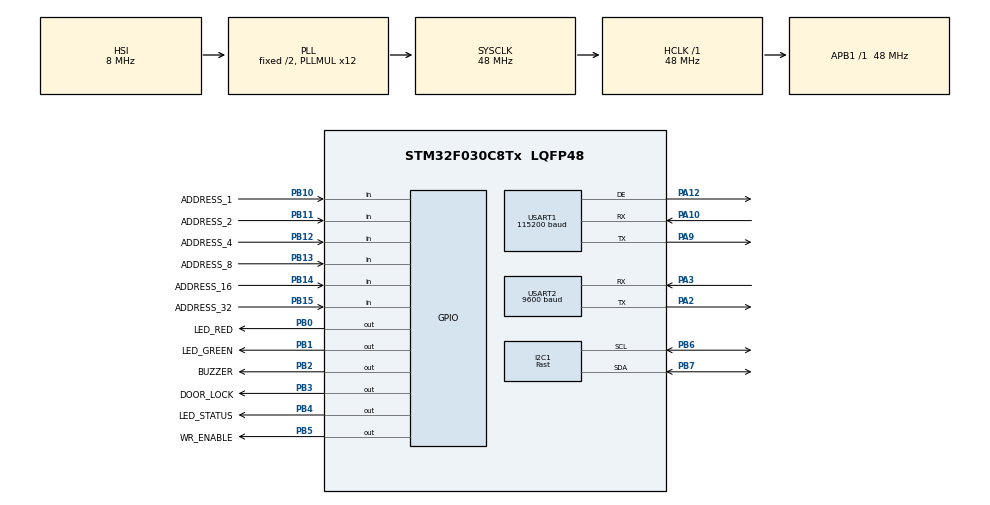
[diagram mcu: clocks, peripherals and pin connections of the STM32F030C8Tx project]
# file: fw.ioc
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I2C1.I2C_Speed_Mode=I2C_Fast
I2C1.Timing=0x0010020A
Mcu.Family=STM32F0
Mcu.Name=STM32F030C8Tx
Mcu.Package=LQFP48
NVIC.USART1_IRQn=true\:0\:0\:false\:false\:true\:true\:true\:true
NVIC.USART2_IRQn=true\:0\:0\:false\:false\:true\:true\:true\:true
PA10.Mode=Asynchronous
PA10.Signal=USART1_RX
PA12.Mode=Hardware Flow Control (RS485)
PA12.Signal=USART1_DE
PA13.Mode=Serial_Wire
PA13.Signal=SYS_SWDIO
PA14.Mode=Serial_Wire
PA14.Signal=SYS_SWCLK
PA2.Mode=Asynchronous
PA2.Signal=USART2_TX
PA3.Mode=Asynchronous
PA3.Signal=USART2_RX
PA9.Mode=Asynchronous
PA9.Signal=USART1_TX
PB0.GPIO_Label=LED_RED
PB0.Signal=GPIO_Output
PB1.GPIO_Label=LED_GREEN
PB1.Signal=GPIO_Output
PB10.GPIO_Label=ADDRESS_1
PB10.GPIO_PuPd=GPIO_PULLUP
PB10.Signal=GPIO_Input
PB11.GPIO_Label=ADDRESS_2
PB11.GPIO_PuPd=GPIO_PULLUP
PB11.Signal=GPIO_Input
PB12.GPIO_Label=ADDRESS_4
PB12.GPIO_PuPd=GPIO_PULLUP
PB12.Signal=GPIO_Input
PB13.GPIO_Label=ADDRESS_8
PB13.GPIO_PuPd=GPIO_PULLUP
PB13.Signal=GPIO_Input
PB14.GPIO_Label=ADDRESS_16
PB14.GPIO_PuPd=GPIO_PULLUP
PB14.Signal=GPIO_Input
PB15.GPIO_Label=ADDRESS_32
PB15.GPIO_PuPd=GPIO_PULLUP
PB15.Signal=GPIO_Input
PB2.GPIO_Label=BUZZER
PB2.Signal=GPIO_Output
PB3.GPIO_Label=DOOR_LOCK
PB3.Signal=GPIO_Output
PB4.GPIO_Label=LED_STATUS
PB4.Signal=GPIO_Output
PB5.GPIO_Label=WR_ENABLE
PB5.GPIO_ModeDefaultOutputPP=GPIO_MODE_OUTPUT_OD
PB5.GPIO_PuPd=GPIO_NOPULL
PB5.GPIO_Speed=GPIO_SPEED_FREQ_HIGH
PB5.PinState=GPIO_PIN_SET
PB5.Signal=GPIO_Output
PB6.Mode=I2C
PB6.Signal=I2C1_SCL
PB7.Mode=I2C
PB7.Signal=I2C1_SDA
PC14-OSC32_IN.Mode=LSE-External-Oscillator
PC14-OSC32_IN.Signal=RCC_OSC32_IN
PC15-OSC32_OUT.Mode=LSE-External-Oscillator
PC15-OSC32_OUT.Signal=RCC_OSC32_OUT
ProjectManager.HeapSize=0x200
ProjectManager.StackSize=0x400
ProjectManager.TargetToolchain=MDK-ARM V5.32
RCC.AHBFreq_Value=48000000
RCC.APB1Freq_Value=48000000
RCC.APB1TimFreq_Value=48000000
RCC.HCLKFreq_Value=48000000
RCC.PLLMUL=RCC_PLL_MUL12
RCC.RTCClockSelection=RCC_RTCCLKSOURCE_LSE
RCC.SYSCLKFreq_VALUE=48000000
RCC.SYSCLKSource=RCC_SYSCLKSOURCE_PLLCLK
USART1.BaudRate=115200
USART1.VirtualMode-Asynchronous=VM_ASYNC
USART1.VirtualMode-Hardware\ Flow\ Control\ (RS485)=VM_ASYNC
USART2.BaudRate=9600
USART2.VirtualMode-Asynchronous=VM_ASYNC
VP_CRC_VS_CRC.Mode=CRC_Activate
VP_IWDG_VS_IWDG.Mode=IWDG_Activate
VP_RTC_VS_RTC_Activate.Mode=RTC_Enabled
board=custom

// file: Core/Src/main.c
/* USER CODE BEGIN Header */
/**
  ******************************************************************************
  * @file           : main.c
  * @brief          : Main program body
  ******************************************************************************
  * @attention
  *
  * Copyright (c) 2024 STMicroelectronics.
  * All rights reserved.
  *
  * This software is licensed under terms that can be found in the LICENSE file
  * in the root directory of this software component.
  * If no LICENSE file comes with this software, it is provided AS-IS.
  *
  ******************************************************************************
  */
/* USER CODE END Header */
#include "main.h"

/* USER CODE BEGIN Includes */
#include "logger.h"
#include "eeprom.h"
#include <stdlib.h>
/* USER CODE END Includes */

/* USER CODE BEGIN PTD */
typedef enum
{
	BUZZ_OFF = 0,
	BUZZ_CARD_VALID,
	BUZZ_CARD_INVALID,
	BUZZ_ERROR
} buzz_tdf;

typedef enum
{
	LED_OFF = 0,
	LED_CARD_VALID,
	LED_CARD_INVALID,
	LED_CARD_BLOCKED,
	LED_ERROR
} led_tdf;

typedef enum
{
	SYS_OK = 0,
	SYS_TXRX,
	SYS_ERR
} status_tdf;

typedef enum
{
	CLOSED = 0,
	OPEN
} doorlock_tdf;

doorlock_tdf door = CLOSED;
status_tdf state = SYS_OK;
led_tdf led = LED_OFF;
buzz_tdf buzz = BUZZ_OFF;
const uint16_t max_card_number = 250;
/* USER CODE END PTD */

I2C_HandleTypeDef hi2c1;

IWDG_HandleTypeDef hiwdg;

RTC_HandleTypeDef hrtc;
CRC_HandleTypeDef hcrc;
UART_HandleTypeDef huart1;
UART_HandleTypeDef huart2;

/* USER CODE BEGIN PV */
uint8_t sysfl;
static uint8_t rsadd;
RTC_TimeTypeDef rtime;
RTC_DateTypeDef rdate;
static uint8_t rsbuf[64], rscnt, rfbuf[16], rfcnt;
static uint32_t door_time;
static uint16_t card_cnt = 0;
static uint8_t buzz_cnt = 0, sta_cnt = 0, door_cnt = 0, led_cnt = 0;
static uint32_t buzz_tmr, sta_tmr, door_tmr, led_tmr, rstmr;
/* USER CODE END PV */

void SystemClock_Config(void);
static void MX_GPIO_Init(void);
static void MX_I2C1_Init(void);
static void MX_IWDG_Init(void);
static void MX_CRC_Init(void);
static void MX_USART1_UART_Init(void);
static void MX_USART2_UART_Init(void);
static void MX_RTC_Init(void);
/* USER CODE BEGIN PFP */
static void init(void);
static void rfid(void);
static void rs485(void);
static void save_flags(void);
static void card_valid(void);
static void card_invalid(void);
static void card_blocked(void);
static void save_door_tmr(void);
static void enable_rfid_receiver(void);
static void enable_rs485_receiver(void);
static void new_event(const uint8_t* bcd_card);
static uint8_t find_card(const uint8_t* bcd_card);
static uint8_t write_card(const uint8_t* bcd_card);
static uint8_t delete_card(const uint8_t* bcd_card);
static uint8_t delete_all_cards(void);
static uint8_t delete_all_events(void);
/* USER CODE END PFP */

int main(void)
{

	/* MCU Configuration--------------------------------------------------------*/

	/* Reset of all peripherals, Initializes the Flash interface and the Systick. */
	HAL_Init();

	/* Configure the system clock */
	SystemClock_Config();

	/* Initialize all configured peripherals */
	MX_GPIO_Init();
	MX_CRC_Init();
	MX_I2C1_Init();
	MX_IWDG_Init();
	MX_USART1_UART_Init();
	MX_USART2_UART_Init();
	MX_RTC_Init();
	/* USER CODE BEGIN 2 */
	init();
	LOGGER_Init();

	/* USER CODE END 2 */

	/* Infinite loop */
	/* USER CODE BEGIN WHILE */
	while(1)
	{
		rfid();
		rs485();
		LOGGER_Service();
		/* USER CODE END WHILE */

		/* USER CODE BEGIN 3 */
#ifdef	USE_WATCHDOG
		HAL_IWDG_Refresh(&hiwdg);
#endif
	}
	/* USER CODE END 3 */
}

void SystemClock_Config(void)
{
	RCC_OscInitTypeDef RCC_OscInitStruct = {0};
	RCC_ClkInitTypeDef RCC_ClkInitStruct = {0};
	RCC_PeriphCLKInitTypeDef PeriphClkInit = {0};

	/** Configure LSE Drive Capability
	*/
	HAL_PWR_EnableBkUpAccess();
	__HAL_RCC_LSEDRIVE_CONFIG(RCC_LSEDRIVE_HIGH);

	/** Initializes the RCC Oscillators according to the specified parameters
	* in the RCC_OscInitTypeDef structure.
	*/
	RCC_OscInitStruct.OscillatorType = RCC_OSCILLATORTYPE_HSI | RCC_OSCILLATORTYPE_LSI
	                                   | RCC_OSCILLATORTYPE_LSE;
	RCC_OscInitStruct.LSEState = RCC_LSE_ON;
	RCC_OscInitStruct.HSIState = RCC_HSI_ON;
	RCC_OscInitStruct.HSICalibrationValue = RCC_HSICALIBRATION_DEFAULT;
	RCC_OscInitStruct.LSIState = RCC_LSI_ON;
	RCC_OscInitStruct.PLL.PLLState = RCC_PLL_ON;
	RCC_OscInitStruct.PLL.PLLSource = RCC_PLLSOURCE_HSI;
	RCC_OscInitStruct.PLL.PLLMUL = RCC_PLL_MUL12;
	RCC_OscInitStruct.PLL.PREDIV = RCC_PREDIV_DIV1;
	if(HAL_RCC_OscConfig(&RCC_OscInitStruct) != HAL_OK)
	{
		Error_Handler();
	}

	/** Initializes the CPU, AHB and APB buses clocks
	*/
	RCC_ClkInitStruct.ClockType = RCC_CLOCKTYPE_HCLK | RCC_CLOCKTYPE_SYSCLK
	                              | RCC_CLOCKTYPE_PCLK1;
	RCC_ClkInitStruct.SYSCLKSource = RCC_SYSCLKSOURCE_PLLCLK;
	RCC_ClkInitStruct.AHBCLKDivider = RCC_SYSCLK_DIV1;
	RCC_ClkInitStruct.APB1CLKDivider = RCC_HCLK_DIV1;

	if(HAL_RCC_ClockConfig(&RCC_ClkInitStruct, FLASH_LATENCY_1) != HAL_OK)
	{
		Error_Handler();
	}
	PeriphClkInit.PeriphClockSelection = RCC_PERIPHCLK_USART1 | RCC_PERIPHCLK_I2C1
	                                     | RCC_PERIPHCLK_RTC;
	PeriphClkInit.Usart1ClockSelection = RCC_USART1CLKSOURCE_PCLK1;
	PeriphClkInit.I2c1ClockSelection = RCC_I2C1CLKSOURCE_HSI;
	PeriphClkInit.RTCClockSelection = RCC_RTCCLKSOURCE_LSE;
	if(HAL_RCCEx_PeriphCLKConfig(&PeriphClkInit) != HAL_OK)
	{
		Error_Handler();
	}
}

/**
  * @brief
  * @param
  * @retval
  */
static void MX_CRC_Init(void)
{
	hcrc.Instance = CRC;
	HAL_CRC_Init(&hcrc);
}
static void MX_I2C1_Init(void)
{

	hi2c1.Instance = I2C1;
	hi2c1.Init.Timing = 0x0000010B;
	hi2c1.Init.OwnAddress1 = 0;
	hi2c1.Init.AddressingMode = I2C_ADDRESSINGMODE_7BIT;
	hi2c1.Init.DualAddressMode = I2C_DUALADDRESS_DISABLE;
	hi2c1.Init.OwnAddress2 = 0;
	hi2c1.Init.OwnAddress2Masks = I2C_OA2_NOMASK;
	hi2c1.Init.GeneralCallMode = I2C_GENERALCALL_DISABLE;
	hi2c1.Init.NoStretchMode = I2C_NOSTRETCH_DISABLE;
	if(HAL_I2C_Init(&hi2c1) != HAL_OK)
	{
		Error_Handler();
	}

	/** Configure Analogue filter
	*/
	if(HAL_I2CEx_ConfigAnalogFilter(&hi2c1, I2C_ANALOGFILTER_ENABLE) != HAL_OK)
	{
		Error_Handler();
	}

	/** Configure Digital filter
	*/
	if(HAL_I2CEx_ConfigDigitalFilter(&hi2c1, 0) != HAL_OK)
	{
		Error_Handler();
	}

}

static void MX_IWDG_Init(void)
{

	/* USER CODE BEGIN IWDG_Init 0 */
#ifdef USE_WATCHDOG
	/* USER CODE END IWDG_Init 0 */

	hiwdg.Instance = IWDG;
	hiwdg.Init.Prescaler = IWDG_PRESCALER_64;
	hiwdg.Init.Window = 4095;
	hiwdg.Init.Reload = 4095;
	if(HAL_IWDG_Init(&hiwdg) != HAL_OK)
	{
		Error_Handler();
	}
	/* USER CODE BEGIN IWDG_Init 2 */
#endif
	/* USER CODE END IWDG_Init 2 */

}

static void MX_RTC_Init(void)
{

	/** Initialize RTC Only
	*/
	hrtc.Instance = RTC;
	hrtc.Init.HourFormat = RTC_HOURFORMAT_24;
	hrtc.Init.AsynchPrediv = 127;
	hrtc.Init.SynchPrediv = 255;
	hrtc.Init.OutPut = RTC_OUTPUT_DISABLE;
	hrtc.Init.OutPutPolarity = RTC_OUTPUT_POLARITY_HIGH;
	hrtc.Init.OutPutType = RTC_OUTPUT_TYPE_OPENDRAIN;
	if(HAL_RTC_Init(&hrtc) != HAL_OK)
	{
		Error_Handler();
	}

}

static void MX_USART1_UART_Init(void)
{

	huart1.Instance = USART1;
	huart1.Init.BaudRate = 115200;
	huart1.Init.WordLength = UART_WORDLENGTH_8B;
	huart1.Init.StopBits = UART_STOPBITS_1;
	huart1.Init.Parity = UART_PARITY_NONE;
	huart1.Init.Mode = UART_MODE_TX_RX;
	huart1.Init.HwFlowCtl = UART_HWCONTROL_NONE;
	huart1.Init.OverSampling = UART_OVERSAMPLING_16;
	huart1.Init.OneBitSampling = UART_ONE_BIT_SAMPLE_DISABLE;
	huart1.AdvancedInit.AdvFeatureInit = UART_ADVFEATURE_NO_INIT;
	if(HAL_RS485Ex_Init(&huart1, UART_DE_POLARITY_HIGH, 0, 0) != HAL_OK)
	{
		Error_Handler();
	}
	/* USER CODE BEGIN USART1_Init 2 */
	rscnt = 0;
	ZEROFILL(rsbuf, COUNTOF(rsbuf));
	HAL_UART_Receive_IT(&huart1, rsbuf, 1);
	/* USER CODE END USART1_Init 2 */

}

static void MX_USART2_UART_Init(void)
{

	huart2.Instance = USART2;
	huart2.Init.BaudRate = 9600;
	huart2.Init.WordLength = UART_WORDLENGTH_8B;
	huart2.Init.StopBits = UART_STOPBITS_1;
	huart2.Init.Parity = UART_PARITY_NONE;
	huart2.Init.Mode = UART_MODE_RX;
	huart2.Init.HwFlowCtl = UART_HWCONTROL_NONE;
	huart2.Init.OverSampling = UART_OVERSAMPLING_16;
	huart2.Init.OneBitSampling = UART_ONE_BIT_SAMPLE_DISABLE;
	huart2.AdvancedInit.AdvFeatureInit = UART_ADVFEATURE_NO_INIT;
	if(HAL_UART_Init(&huart2) != HAL_OK)
	{
		Error_Handler();
	}
	/* USER CODE BEGIN USART2_Init 2 */
	rfcnt = 0;
	ZEROFILL(rfbuf, COUNTOF(rfbuf));
	HAL_UART_Receive_IT(&huart2, rfbuf, 1);
	/* USER CODE END USART2_Init 2 */

}

static void MX_GPIO_Init(void)
{
	GPIO_InitTypeDef GPIO_InitStruct = {0};

	/* GPIO Ports Clock Enable */
	__HAL_RCC_GPIOC_CLK_ENABLE();
	__HAL_RCC_GPIOF_CLK_ENABLE();
	__HAL_RCC_GPIOA_CLK_ENABLE();
	__HAL_RCC_GPIOB_CLK_ENABLE();

	/*Configure GPIO pin Output Level */
	HAL_GPIO_WritePin(GPIOB, LED_RED_Pin | LED_GREEN_Pin | BUZZER_Pin | DOOR_LOCK_Pin
	                  | LED_STATUS_Pin, GPIO_PIN_RESET);

	/*Configure GPIO pin Output Level */
	HAL_GPIO_WritePin(WR_ENABLE_GPIO_Port, WR_ENABLE_Pin, GPIO_PIN_SET);

	/*Configure GPIO pin : PC13 */
	GPIO_InitStruct.Pin = GPIO_PIN_13;
	GPIO_InitStruct.Mode = GPIO_MODE_ANALOG;
	GPIO_InitStruct.Pull = GPIO_NOPULL;
	HAL_GPIO_Init(GPIOC, &GPIO_InitStruct);

	/*Configure GPIO pins : PF0 PF1 PF6 PF7 */
	GPIO_InitStruct.Pin = GPIO_PIN_0 | GPIO_PIN_1 | GPIO_PIN_6 | GPIO_PIN_7;
	GPIO_InitStruct.Mode = GPIO_MODE_ANALOG;
	GPIO_InitStruct.Pull = GPIO_NOPULL;
	HAL_GPIO_Init(GPIOF, &GPIO_InitStruct);

	/*Configure GPIO pins : PA0 PA1 PA4 PA5
	                         PA6 PA7 PA8 PA11
	                         PA15 */
	GPIO_InitStruct.Pin = GPIO_PIN_0 | GPIO_PIN_1 | GPIO_PIN_4 | GPIO_PIN_5
	                      | GPIO_PIN_6 | GPIO_PIN_7 | GPIO_PIN_8 | GPIO_PIN_11
	                      | GPIO_PIN_15;
	GPIO_InitStruct.Mode = GPIO_MODE_ANALOG;
	GPIO_InitStruct.Pull = GPIO_NOPULL;
	HAL_GPIO_Init(GPIOA, &GPIO_InitStruct);

	/*Configure GPIO pins : LED_RED_Pin LED_GREEN_Pin BUZZER_Pin DOOR_LOCK_Pin
	                         LED_STATUS_Pin */
	GPIO_InitStruct.Pin = LED_RED_Pin | LED_GREEN_Pin | BUZZER_Pin | DOOR_LOCK_Pin
	                      | LED_STATUS_Pin;
	GPIO_InitStruct.Mode = GPIO_MODE_OUTPUT_PP;
	GPIO_InitStruct.Pull = GPIO_NOPULL;
	GPIO_InitStruct.Speed = GPIO_SPEED_FREQ_LOW;
	HAL_GPIO_Init(GPIOB, &GPIO_InitStruct);

	/*Configure GPIO pins : ADDRESS_1_Pin ADDRESS_2_Pin ADDRESS_4_Pin ADDRESS_8_Pin
	                         ADDRESS_16_Pin ADDRESS_32_Pin */
	GPIO_InitStruct.Pin = ADDRESS_1_Pin | ADDRESS_2_Pin | ADDRESS_4_Pin | ADDRESS_8_Pin
	                      | ADDRESS_16_Pin | ADDRESS_32_Pin;
	GPIO_InitStruct.Mode = GPIO_MODE_INPUT;
	GPIO_InitStruct.Pull = GPIO_PULLUP;
	HAL_GPIO_Init(GPIOB, &GPIO_InitStruct);

	/*Configure GPIO pin : WR_ENABLE_Pin */
	GPIO_InitStruct.Pin = WR_ENABLE_Pin;
	GPIO_InitStruct.Mode = GPIO_MODE_OUTPUT_PP;
	GPIO_InitStruct.Pull = GPIO_NOPULL;
	GPIO_InitStruct.Speed = GPIO_SPEED_FREQ_HIGH;
	HAL_GPIO_Init(WR_ENABLE_GPIO_Port, &GPIO_InitStruct);

	/*Configure GPIO pins : PB8 PB9 */
	GPIO_InitStruct.Pin = GPIO_PIN_8 | GPIO_PIN_9;
	GPIO_InitStruct.Mode = GPIO_MODE_ANALOG;
	GPIO_InitStruct.Pull = GPIO_NOPULL;
	HAL_GPIO_Init(GPIOB, &GPIO_InitStruct);

}

/* USER CODE BEGIN 4 */
/**
  * @brief  init app
  * @param  none
  * @retval none
  */
static void init(void)
{
	static uint8_t buf[LOG_DSIZE];
	static uint32_t add;

#ifdef CLEAR_EEPROM
	uint8_t clr[EE_PGSIZE + 2];
	uint32_t iad;
	ZEROFILL(clr, COUNTOF(clr));
	EE_EnableWR();
	for(iad = 0; iad <= (EE_ENDADDR - EE_PGSIZE); iad += EE_PGSIZE)
	{
		clr[0] = iad >> 8;
		clr[1] = iad & 0xFFU;
		if(HAL_I2C_IsDeviceReady(&hi2c1, EE_ADDR, DRV_TRIAL, DRV_TOUT)         != HAL_OK)  Error_Handler();
		if(HAL_I2C_Master_Transmit(&hi2c1, EE_ADDR, clr, EE_PGSIZE + 2, DRV_TOUT) != HAL_OK)  Error_Handler();
		if(HAL_I2C_IsDeviceReady(&hi2c1, EE_ADDR, DRV_TRIAL, DRV_TOUT)         != HAL_OK)  Error_Handler();
	}
	door_time = 5;
	DoorlockEnable();
	BuzzerEnable();
	buf[0] = 0U;
	buf[1] = 0U;
	buf[2] = sysfl;
	buf[3] = door_time;
	if(HAL_I2C_IsDeviceReady(&hi2c1, EE_ADDR, DRV_TRIAL, DRV_TOUT) != HAL_OK)   Error_Handler();
	if(HAL_I2C_Master_Transmit(&hi2c1, EE_ADDR, buf, 4, DRV_TOUT)  != HAL_OK)   Error_Handler();
	if(HAL_I2C_IsDeviceReady(&hi2c1, EE_ADDR, DRV_TRIAL, DRV_TOUT) != HAL_OK)  Error_Handler();
	EE_DisableWR();
#endif

	rsadd = 0;
	if(HAL_GPIO_ReadPin(ADDRESS_1_GPIO_Port, ADDRESS_1_Pin) == GPIO_PIN_RESET) rsadd |= 0x01U;
	if(HAL_GPIO_ReadPin(ADDRESS_2_GPIO_Port, ADDRESS_2_Pin) == GPIO_PIN_RESET) rsadd |= 0x02U;
	if(HAL_GPIO_ReadPin(ADDRESS_4_GPIO_Port, ADDRESS_4_Pin) == GPIO_PIN_RESET) rsadd |= 0x04U;
	if(HAL_GPIO_ReadPin(ADDRESS_8_GPIO_Port, ADDRESS_8_Pin) == GPIO_PIN_RESET) rsadd |= 0x08U;
	if(HAL_GPIO_ReadPin(ADDRESS_16_GPIO_Port, ADDRESS_16_Pin) == GPIO_PIN_RESET) rsadd |= 0x10U;
	if(HAL_GPIO_ReadPin(ADDRESS_32_GPIO_Port, ADDRESS_32_Pin) == GPIO_PIN_RESET) rsadd |= 0x20U;

	buf[0] = 0U;
	buf[1] = 0U;
	if(HAL_I2C_IsDeviceReady(&hi2c1, EE_ADDR, DRV_TRIAL, DRV_TOUT) != HAL_OK)  Error_Handler();
	if(HAL_I2C_Master_Transmit(&hi2c1, EE_ADDR, buf, 2U, DRV_TOUT) != HAL_OK)  Error_Handler();
	if(HAL_I2C_Master_Receive(&hi2c1, EE_ADDR, buf, LOG_DSIZE, DRV_TOUT)   != HAL_OK) Error_Handler();
	sysfl = buf[0];
	door_time = (uint32_t) buf[1] * 1000U;
	if(!IsRFIDEnabled()) // omogući rfid uvijek nakon restarta, ovo je samo interni flag
	{
		RfidEnable();
		save_flags();
	}

	for(add = EE_CARD_LIST_START_ADDR; add <= (EE_CARD_LIST_START_ADDR + (max_card_number * 0x4U)); add += 4U)
	{
		buf[0] = add >> 8U;
		buf[1] = add & 0xFFU;
		if(HAL_I2C_IsDeviceReady(&hi2c1, 0xA0, DRV_TRIAL, DRV_TOUT) != HAL_OK)  Error_Handler();
		if(HAL_I2C_Master_Transmit(&hi2c1, 0xA0, buf, 2U, DRV_TOUT) != HAL_OK)  Error_Handler();
		if(HAL_I2C_Master_Receive(&hi2c1, 0xA0, buf, 4, DRV_TOUT)  != HAL_OK)  Error_Handler();
		if((buf[0] | buf[1] | buf[2] | buf[3]) != 0U)
		{
			++card_cnt;
		}
	}
}
/**
  * @brief  process received rfid data
  * @param  none
  * @retval none
  */
static void rfid(void)
{
	static uint32_t rftmr = 0;
	unsigned long tmp;
	static uint8_t buf[4];

	if(!IsRFIDEnabled()) return;
	if(rfcnt >= 14U)
	{
		HAL_UART_AbortReceive(&huart2);
		rfbuf[15] = '\0';
		state = SYS_TXRX;
		if((rfbuf[0] == 0x2U) && (rfbuf[13] == 0x3U))
		{
			rfbuf[11] = '\0';
			tmp = strtoul((const char*)&rfbuf[3], NULL, 16);
            if((tmp == 0)||(tmp == 4294967295)){
                enable_rfid_receiver();
                return;
            }
			buf[0] = ((tmp >> 24) & 0xFFU);
			buf[1] = ((tmp >> 16) & 0xFFU);
			buf[2] = ((tmp >> 8) & 0xFFU);
			buf[3] = tmp & 0xFFU;
			if(find_card(buf) == 0) card_valid();
			else  card_invalid();
		}
		else card_invalid();
		new_event(buf);
		rftmr = 0;
		rfcnt = 0;
	}
	else if(rfcnt && !rftmr)
	{
		rftmr = HAL_GetTick();
	}
	else if(rfcnt && rftmr)
	{
		if((HAL_GetTick() - rftmr) >= 200U)
		{
			rftmr = 0;
			enable_rfid_receiver();
		}
	}
}
/**
  * @brief  send new card event to pc app
            if pc app not acknowledge receiving event
            event is loged
  * @param  pointer to card received
  * @retval none
  */
static void new_event(const uint8_t* bcd_card)
{
	uint16_t crc = 0, i, t = 0;
	uint8_t buf[16];
	HAL_UART_AbortReceive(&huart1);
	ZEROFILL(buf, COUNTOF(buf));
	buf[0] = SOH;
	buf[1] = 0xFE;
	buf[2] = rsadd;
	buf[3] = 0x6U;
	buf[4] = GET_EVENT_LAST;
	buf[5] = led;
	mem_copy(&buf[6], bcd_card, 4);
	for(i = 0; i < 10; i++)
	{
		crc += buf[i];
	}
	buf[10] = crc >> 8;
	buf[11] = crc & 0xFFU;
	buf[12] = EOT;
	rscnt = 0;
	ZEROFILL(rsbuf, COUNTOF(rsbuf));
	HAL_UART_Transmit(&huart1, buf, 13U, RESP_TOUT);
	__HAL_UART_CLEAR_PEFLAG(&huart1);
	__HAL_UART_CLEAR_FEFLAG(&huart1);
	__HAL_UART_CLEAR_NEFLAG(&huart1);
	__HAL_UART_CLEAR_IDLEFLAG(&huart1);
	__HAL_UART_CLEAR_OREFLAG(&huart1);
	HAL_UART_AbortReceive(&huart1);
	HAL_UART_Receive(&huart1, rsbuf, 8, 100);
	if((rsbuf[0] == SOH)   && (rsbuf[1] ==  rsadd) && \
	        (rsbuf[2] == 0xFEU) && (rsbuf[3] ==  0x1U) && \
	        (rsbuf[4] == ACK)   && (rsbuf[7] ==  EOT))
	{
		crc = 0;
		for(i = 0; i < (rsbuf[3] + 4); i++)
		{
			crc += rsbuf[i];
		}
		if(((rsbuf[5]) == (crc >> 8U)) && ((rsbuf[6]) == (crc & 0xFFU))) t = 1;
	}
	if(t == 0)
	{
		logger.log_event = led;
		mem_copy(&logger.log_card_id[0], bcd_card, 4);
		LOGGER_Write();
	}
	enable_rs485_receiver();
}
/**
  * @brief process received rs485 data and response
  * @param

    BAJT 0 = SOH (standardni ASCII "start of header" kontrolni char, 1 decimalno, 0x01 hexadecimalno)
    BAJT 1 = ADRESA RECEIVERA (adresa ČITAČA ili u odgovoru 0xFE adresa PC aplikacije) ili 0xFF brodkast adresa
    BAJT 2 = ADRESA TRANSMITERA (0xFE adresa PC aplikacije ili u odgovoru adresa ČITAČA)
    BAJT 3 = DUŽINA PAKETA (broj bajta korisnog dijela ovog paketa koji saljemo prijemniku pocevsi od i uključujući slijedeceg)
    BAJT 4 = KOMANDA
                        GET_SYS_FLAG        0xA0 // traži flagove sistema
                        GET_CARD_CNT        0xA1 // broj kartica u eepromu
                        GET_CARD_PRESENT    0xA2 // traži kartice u eepromu
                        GET_EVENT_CNT       0xA3 // broj događaja u eepromu
                        GET_EVENT_LAST      0xA4 // traži zadnji događaj iz eeproma

                        SET_SYS_TIME        0xB0 // podesi vrijeme u BCD formatu: dan/datum/mjesec/godina/sat/minuta/sekunda
                        SET_SYS_RESTART     0xB1 // softwerski restart applikacije
                        SET_CARD_ONE        0xB2 // dodaj novu karticu u eeprom
                        SET_DOOR_OPEN       0xB3 // aktiviraj bravu
                        SET_DOOR_TIME       0xB4 // podesi vrijeme brave
                        SET_DOOR_ENABLE     0xB5 // omogući kontrolu brave
                        SET_DOOR_DISABLE    0xB6 // onemogući kontrolu brave
                        SET_BUZZER_ENABLE   0xB7 // omogući buzzer
                        SET_BUZZER_DISABLE  0xB8 // onemogući buzzer

                        DELETE_CARD_ONE     0xC0 // obrisi karticu iz eeproma
                        DELETE_CARD_ALL     0xC1 // obrisi sve kartice iz eeproma
                        DELETE_EVENT_LAST   0xC2 // obrisi događaj prema datom indexu iz eeproma
                        DELETE_EVENT_ALL    0xC3 // obrisi sve događaje iz eeproma

    BAJT 5,6... = BROJ KARTICE ILI VRIJEME (ako se šalje broj kartice ili vrijeme)

    BAJT ZADNJI - 2 = MSB CEKSUMA KOMANDE (16 bitni zbir svih bajta paketa, do prije ovog bajta)
    BAJT ZADNJI - 1 = LSB CEKSUMA KOMANDE
    BAJT ZADNJI		= EOT (standardni ASCII "end of transmission" kontrolni char, 4 decimalno, 0x04 hexadecimalno)

  * @retval
  */
static void rs485(void)
{
	static uint8_t i, resp[32];
	uint16_t crc = 0;
	if((rsbuf[0] == SOH) && (rsbuf[1] ==  rsadd) && (rsbuf[rsbuf[3] + 6U] == EOT))
	{
		HAL_UART_AbortReceive(&huart1);

		for(i = 0; i < (rsbuf[3] + 4); i++)
		{
			crc += rsbuf[i];
		}

		if(((rsbuf[rsbuf[3] + 4U]) == (crc >> 8U)) && ((rsbuf[rsbuf[3] + 5U]) == (crc & 0xFFU)))
		{
			resp[0] = SOH;
			resp[1] = 0xFEU;
			resp[2] = rsadd;
			resp[3] = 2U;
			resp[4] = rsbuf[4];
			resp[5] = ACK;

			switch(rsbuf[4])
			{
				case GET_SYS_FLAG:
					resp[5] = sysfl;
					break;

				case GET_CARD_CNT:
					resp[3] = 3U;
					resp[5] = card_cnt >> 8;
					resp[6] = card_cnt & 0xFFU;
					break;

				case GET_CARD_PRESENT:
					if(find_card(&rsbuf[5]) != 0) resp[5] = NAK;
					break;

				case GET_EVENT_CNT:
					resp[3] = 3U;
					resp[5] = logger_list_count >> 8;
					resp[6] = logger_list_count & 0xFFU;
					break;

				case GET_EVENT_LAST:
					resp[3] = 17U;
					if(LOGGER_Read(&resp[5]) == LOGGER_EMPTY)
					{
						resp[3] = 2U;
						resp[5] = LOGGER_EMPTY;
					}
					break;

				case SET_SYS_TIME:
					Str2Hex((const char*)&rsbuf[5], &rdate.Date, 2);
					Str2Hex((const char*)&rsbuf[7], &rdate.Month, 2);
					Str2Hex((const char*)&rsbuf[9], &rdate.Year, 2);
					Str2Hex((const char*)&rsbuf[11], &rtime.Hours, 2);
					Str2Hex((const char*)&rsbuf[13], &rtime.Minutes, 2);
					Str2Hex((const char*)&rsbuf[15], &rtime.Seconds, 2);
					HAL_RTC_SetTime(&hrtc, &rtime, RTC_FORMAT_BCD);
					HAL_RTC_SetDate(&hrtc, &rdate, RTC_FORMAT_BCD);
					break;

				case SET_SYS_RESTART:
					Error_Handler();
					break;

				case SET_CARD_ONE:
					if(find_card(&rsbuf[5]) != 0)
					{
						if(write_card(&rsbuf[5]) != 0) resp[5] = NAK;
					}
					break;

				case SET_DOOR_OPEN:
					door = OPEN;
					DoorlockEnable();
					break;

				case SET_DOOR_TIME:
					door_time = (uint32_t) rsbuf[5] * 1000U;
					save_door_tmr();
					break;

				case SET_DOOR_ENABLE:
					DoorlockEnable();
					save_flags();
					break;

				case SET_DOOR_DISABLE:
					DoorlockDisable();
					save_flags();
					break;

				case SET_BUZZER_ENABLE:
					BuzzerEnable();
					save_flags();
					break;

				case SET_BUZZER_DISABLE:
					BuzzerDisable();
					save_flags();
					break;

				case DELETE_CARD_ONE:
					if(delete_card(&rsbuf[5]) != 0) resp[5] = NAK;
					break;

				case DELETE_CARD_ALL:
					delete_all_cards();
					break;

				case DELETE_EVENT_ALL:
					delete_all_events();
					break;

				case DELETE_EVENT_LAST:
					resp[5] = LOGGER_Delete();
					break;

				default:
					resp[3] = 0;
					break;
			}

			if(resp[3])
			{
				crc = 0;
				for(i = 0; i < (resp[3] + 4); i++)
				{
					crc += resp[i];
				}
				resp[resp[3] + 4U] = (crc >> 8U);
				resp[resp[3] + 5U] = (crc & 0xFFU);
				resp[resp[3] + 6U] = EOT;
				HAL_UART_Transmit(&huart1, resp, resp[3] + 7U, RESP_TOUT);
			}
		}
		enable_rs485_receiver();
	}
	// resetuj receiver 100 ms nakon zadnje primljenog bajta
	if(rstmr)
	{
		if((HAL_GetTick() - rstmr) >= 100U)
		{
			enable_rs485_receiver();
		}
	}
}
/**
  * @brief  buzzer, led, doorlock
  * @param
  * @retval
  */
void status(void)
{
	//********************* BUZZER SIGNAL *********************//
	if(IsBuzzerEnabled())
	{
		switch(buzz)
		{
			case BUZZ_CARD_VALID:
				switch(buzz_cnt)
				{
					case 0:
						BuzzerOn();
						buzz_tmr = HAL_GetTick();
						++buzz_cnt;
						break;
					case 1:
					default:
						if((HAL_GetTick() - buzz_tmr) >= 50U) buzz = BUZZ_OFF;
						break;
				}
				break;
			case BUZZ_CARD_INVALID:
				if((HAL_GetTick() - buzz_tmr) >= 50U)
				{
					if(IsBuzzerOn()) BuzzerOff();
					else BuzzerOn();
					buzz_tmr = HAL_GetTick();
					if(++buzz_cnt >= 8U) buzz = BUZZ_OFF;
				}
				break;
			case BUZZ_ERROR:
				if(((buzz_cnt & 0x1U) == 0U) && ((HAL_GetTick() - buzz_tmr) >= 5000U))
				{
					BuzzerOn();
					buzz_tmr = HAL_GetTick();
					++buzz_cnt;
				}
				else if((HAL_GetTick() - buzz_tmr) >= 100U)
				{
					BuzzerOff();
					buzz_tmr = HAL_GetTick();
					++buzz_cnt;
				}
				break;
			default:
			case BUZZ_OFF:
				buzz_cnt = 0;
				buzz_tmr = 0;
				BuzzerOff();
				break;
		}
	}
	else
	{
		buzz_cnt = 0;
		buzz_tmr = 0;
		BuzzerOff();
	}
	//********************* STATUS LED SIGNAL *********************//
	switch(state)
	{
		case SYS_OK:
			if(((sta_cnt & 0x1U) == 0U) && ((HAL_GetTick() - sta_tmr) >= 1000U))
			{
				StatusLedOn();
				sta_tmr = HAL_GetTick();
				++sta_cnt;
			}
			else if((sta_cnt & 0x1U)  && ((HAL_GetTick() - sta_tmr) >= 100U))
			{
				StatusLedOff();
				sta_tmr = HAL_GetTick();
				sta_cnt = 0;
			}
			break;

		case SYS_TXRX:
			if((HAL_GetTick() - sta_tmr) >= 100U)
			{
				if(IsStatusLedOn()) StatusLedOff();
				else StatusLedOn();
				sta_tmr = HAL_GetTick();
				if(++sta_cnt >= 10U) state = SYS_OK;
			}
			break;

		default:
		case SYS_ERR:
			if((HAL_GetTick() - sta_tmr) >= 100U)
			{
				if(IsStatusLedOn()) StatusLedOff();
				else StatusLedOn();
				sta_tmr = HAL_GetTick();
			}
			break;
	}
	//********************* USER LED SIGNAL *********************//
	switch(led)
	{

		case LED_CARD_VALID:
		case LED_CARD_BLOCKED:
			switch(led_cnt)
			{
				case 0:
					if(led == LED_CARD_VALID) GreenLedOn(), RedLedOff();
					else if(led == LED_CARD_BLOCKED) GreenLedOn(), RedLedOn();
					led_tmr = HAL_GetTick();
					++led_cnt;
					break;
				case 1:
				default:
					if((HAL_GetTick() - led_tmr) >= 2000U)
					{
						led_cnt = 0;
						led = LED_OFF;
						enable_rfid_receiver();
					}
					break;
			}
			break;
		case LED_CARD_INVALID:
			if((HAL_GetTick() - led_tmr) >= 50U)
			{
				if(IsRedLedOn()) RedLedOff();
				else RedLedOn();
				led_tmr = HAL_GetTick();
				if(++led_cnt >= 8U)
				{
					led_cnt = 0;
					led = LED_OFF;
					enable_rfid_receiver();
				}
			}
			break;
		case LED_ERROR:
			if(((led_cnt & 0x1U) == 0U) && ((HAL_GetTick() - led_tmr) >= 200U))
			{
				RedLedOn();
				GreenLedOn();
				led_tmr = HAL_GetTick();
				++led_cnt;
			}
			else if((led_cnt & 0x1U) && ((HAL_GetTick() - led_tmr) >= 100U))
			{
				RedLedOff();
				GreenLedOff();
				led_tmr = HAL_GetTick();
				led_cnt = 0;
			}
			break;
		default:
		case LED_OFF:
			RedLedOn();
			GreenLedOff();
			break;

	}
	//********************* DOORLOCK OUTPUT *********************//
	if(IsDoorlockEnabled())
	{
		switch(door)
		{
			case OPEN:
				switch(door_cnt)
				{
					case 0:
						DoorlockOn();
						door_tmr = HAL_GetTick();
						++door_cnt;
						break;
					case 1:
					default:
						if((HAL_GetTick() - door_tmr) >= door_time) door = CLOSED;
						break;
				}
				break;

			default:
			case CLOSED:
				DoorlockOff();
				door_cnt = 0;
				door_tmr = 0;
				break;
		}
	}
	else
	{
		DoorlockOff();
		door_cnt = 0;
		door_tmr = 0;
	}

}
/**
  * @brief  reset and start receivin data from rf485
  * @param  none
  * @retval none
  */
static void enable_rs485_receiver(void)
{
	__HAL_UART_CLEAR_PEFLAG(&huart1);
	__HAL_UART_CLEAR_FEFLAG(&huart1);
	__HAL_UART_CLEAR_NEFLAG(&huart1);
	__HAL_UART_CLEAR_IDLEFLAG(&huart1);
	__HAL_UART_CLEAR_OREFLAG(&huart1);
	HAL_UART_AbortReceive(&huart1);
	rscnt = 0;
	rstmr = 0;
	ZEROFILL(rsbuf, COUNTOF(rsbuf));
	HAL_UART_Receive_IT(&huart1, rsbuf, 1);
}
/**
  * @brief  start receivin data from rfid reader
  * @param  none
  * @retval none
  */
static void enable_rfid_receiver(void)
{
	__HAL_UART_CLEAR_PEFLAG(&huart2);
	__HAL_UART_CLEAR_FEFLAG(&huart2);
	__HAL_UART_CLEAR_NEFLAG(&huart2);
	__HAL_UART_CLEAR_IDLEFLAG(&huart2);
	__HAL_UART_CLEAR_OREFLAG(&huart2);
	HAL_UART_AbortReceive(&huart2);
	rfcnt = 0;
	ZEROFILL(rfbuf, COUNTOF(rfbuf));
	HAL_UART_Receive_IT(&huart2, rfbuf, 1);
}
/**
  * @brief  set signalin for card valid event
  * @param  none
  * @retval none
  */
static void card_valid(void)
{
	if(IsDoorlockEnabled())
	{
		led_cnt = 0;
		door_cnt = 0;
		buzz_cnt = 0;
		buzz_tmr = 0;
		door_tmr = 0;
		led_tmr = 0;
		BuzzerOff();
		RedLedOff();
		GreenLedOff();
		door = OPEN;
		led = LED_CARD_VALID;
		buzz = BUZZ_CARD_VALID;
	}
	else card_blocked();

}
/**
  * @brief  set signalin for card invalid event
  * @param  none
  * @retval none
  */
static void card_invalid(void)
{
	led_cnt = 0;
	door_cnt = 0;
	buzz_cnt = 0;
	buzz_tmr = 0;
	door_tmr = 0;
	led_tmr = 0;
	BuzzerOff();
	RedLedOff();
	GreenLedOff();
	door = CLOSED;
	led = LED_CARD_INVALID;
	buzz = BUZZ_CARD_INVALID;
}
/**
  * @brief  set signalin for reader doorlock blocked event
  * @param  none
  * @retval none
  */
static void card_blocked(void)
{
	led_cnt = 0;
	door_cnt = 0;
	buzz_cnt = 0;
	buzz_tmr = 0;
	door_tmr = 0;
	led_tmr = 0;
	BuzzerOff();
	RedLedOff();
	GreenLedOff();
	door = CLOSED;
	led = LED_CARD_BLOCKED;
	buzz = BUZZ_CARD_INVALID;
}
/**
  * @brief  find in eeprom card id
  * @param  pointer to card id in 5 byte bcd format (10 digit)
  * @retval 0 = OK or 1 = NOT FOUND
  */
static uint8_t find_card(const uint8_t* bcd_card)
{
	uint8_t buf[4];
	uint32_t add = EE_CARD_LIST_START_ADDR;
	for(add = EE_CARD_LIST_START_ADDR; add <= (EE_CARD_LIST_START_ADDR + (max_card_number * 0x4U)); add += 0x4U)
	{
		buf[0] = add >> 8U;
		buf[1] = add & 0xFFU;
		if(HAL_I2C_IsDeviceReady(&hi2c1, EE_ADDR, DRV_TRIAL, DRV_TOUT) != HAL_OK)  Error_Handler();
		if(HAL_I2C_Master_Transmit(&hi2c1, EE_ADDR, buf, 2U, DRV_TOUT) != HAL_OK)  Error_Handler();
		if(HAL_I2C_Master_Receive(&hi2c1, EE_ADDR, buf, 4U, DRV_TOUT)  != HAL_OK)  Error_Handler();
		if(mem_comp(bcd_card, buf, 4U) == 0U) return 0U;
	}
	return (1U);
}
/**
  * @brief  write card on first available eeprom address
  * @param  pointer to card id in 5 byte bcd format
  * @retval 0 = OK or 1 = WRITE ERROR
  */
static uint8_t write_card(const uint8_t* bcd_card)
{
	uint8_t buf[6];
	uint32_t add = EE_CARD_LIST_START_ADDR;
	for(add = EE_CARD_LIST_START_ADDR; add <= (EE_CARD_LIST_START_ADDR + (max_card_number * 0x4U)); add += 4U)
	{
		buf[0] = add >> 8U;
		buf[1] = add & 0xFFU;
		if(HAL_I2C_IsDeviceReady(&hi2c1, EE_ADDR, DRV_TRIAL, DRV_TOUT) != HAL_OK)  Error_Handler();
		if(HAL_I2C_Master_Transmit(&hi2c1, EE_ADDR, buf, 2U, DRV_TOUT) != HAL_OK)  Error_Handler();
		if(HAL_I2C_Master_Receive(&hi2c1, EE_ADDR, buf, 4U, DRV_TOUT)  != HAL_OK)  Error_Handler();
		if((buf[0] | buf[1] | buf[2] | buf[3]) == 0U)
		{
			buf[0] = add >> 8U;
			buf[1] = add & 0xFFU;
			mem_copy(&buf[2], bcd_card, 4);
			EE_EnableWR();
			if(HAL_I2C_IsDeviceReady(&hi2c1, EE_ADDR, DRV_TRIAL, DRV_TOUT) != HAL_OK)     Error_Handler();
			if(HAL_I2C_Master_Transmit(&hi2c1, EE_ADDR, buf, 0x6U, DRV_TOUT) != HAL_OK)   Error_Handler();
			if(HAL_I2C_IsDeviceReady(&hi2c1, EE_ADDR, DRV_TRIAL, DRV_TOUT) != HAL_OK)     Error_Handler();
			EE_DisableWR();
			++card_cnt;
			return 0U;
		}
	}
	return (1U);
}
/**
  * @brief  delete card from eeprom
  * @param  pointer to card id in 5 byte bcd format
  * @retval 0 = OK or 1 = NOT FOUND
  */
static uint8_t delete_card(const uint8_t* bcd_card)
{
	uint8_t buf[6];
	uint32_t add = EE_CARD_LIST_START_ADDR;
	for(add = EE_CARD_LIST_START_ADDR; add <= (EE_CARD_LIST_START_ADDR + (max_card_number * 0x4U)); add += 4U)
	{
		buf[0] = add >> 8U;
		buf[1] = add & 0xFFU;
		if(HAL_I2C_IsDeviceReady(&hi2c1, EE_ADDR, DRV_TRIAL, DRV_TOUT) != HAL_OK)   Error_Handler();
		if(HAL_I2C_Master_Transmit(&hi2c1, EE_ADDR, buf, 2U, DRV_TOUT) != HAL_OK)   Error_Handler();
		if(HAL_I2C_Master_Receive(&hi2c1, EE_ADDR, buf, 4U, DRV_TOUT) != HAL_OK)   Error_Handler();
		if(mem_comp(bcd_card, buf, 4U) == 0U)
		{
			ZEROFILL(buf, COUNTOF(buf));
			buf[0] = add >> 8U;
			buf[1] = add & 0xFFU;
			EE_EnableWR();
			if(HAL_I2C_IsDeviceReady(&hi2c1, EE_ADDR, DRV_TRIAL, DRV_TOUT) != HAL_OK)      Error_Handler();
			if(HAL_I2C_Master_Transmit(&hi2c1, EE_ADDR, buf, 0x6U, DRV_TOUT) != HAL_OK)   Error_Handler();
			if(HAL_I2C_IsDeviceReady(&hi2c1, EE_ADDR, DRV_TRIAL, DRV_TOUT) != HAL_OK)      Error_Handler();
			EE_DisableWR();
			--card_cnt;
			return 0U;
		}
	}
	return (1U);
}
/**
  * @brief  delete card from eeprom
  * @param  pointer to card id in 5 byte bcd format
  * @retval 0 = OK or system restart
  */
static uint8_t delete_all_cards(void)
{
	uint8_t buf[EE_PGSIZE + 2];
	uint32_t add;
	ZEROFILL(buf, COUNTOF(buf));
	EE_EnableWR();
	for(add = EE_CARD_LIST_START_ADDR; add <= (EE_CARD_LIST_END_ADDR - EE_PGSIZE); add += EE_PGSIZE)
	{
		buf[0] = add >> 8U;
		buf[1] = add & 0xFFU;
		if(HAL_I2C_IsDeviceReady(&hi2c1, EE_ADDR, DRV_TRIAL, DRV_TOUT) != HAL_OK)         Error_Handler();
		if(HAL_I2C_Master_Transmit(&hi2c1, EE_ADDR, buf, EE_PGSIZE + 2, DRV_TOUT) != HAL_OK)Error_Handler();
		if(HAL_I2C_IsDeviceReady(&hi2c1, EE_ADDR, DRV_TRIAL, DRV_TOUT) != HAL_OK)         Error_Handler();
	}
	EE_DisableWR();
	card_cnt = 0;
	return 0U;
}
/**
  * @brief  delete all events from eeprom
  * @param  none
  * @retval 0 = OK or system restart
  */
static uint8_t delete_all_events(void)
{
	uint8_t buf[EE_PGSIZE + 2];
	uint32_t add;
	ZEROFILL(buf, COUNTOF(buf));
	EE_EnableWR();
	for(add = EE_LOG_LIST_START_ADDR; add <= (EE_LOG_LIST_END_ADDR - EE_PGSIZE); add += EE_PGSIZE)
	{
		buf[0] = add >> 8U;
		buf[1] = add & 0xFFU;
		if(HAL_I2C_IsDeviceReady(&hi2c1, EE_ADDR, DRV_TRIAL, DRV_TOUT)         != HAL_OK)  Error_Handler();
		if(HAL_I2C_Master_Transmit(&hi2c1, EE_ADDR, buf, EE_PGSIZE + 2, DRV_TOUT) != HAL_OK)  Error_Handler();
		if(HAL_I2C_IsDeviceReady(&hi2c1, EE_ADDR, DRV_TRIAL, DRV_TOUT)         != HAL_OK)  Error_Handler();
	}
	EE_DisableWR();
	LOGGER_Init();
	return 0U;
}
/**
  * @brief  save door time
  * @param
  * @retval
  */
static void save_door_tmr(void)
{
	uint8_t tmp = door_time / 1000U;
	uint8_t buf[3];
	buf[0] = 0;
	buf[1] = 0x1;
	buf[2] = tmp;
	EE_EnableWR();
	if(HAL_I2C_IsDeviceReady(&hi2c1, EE_ADDR, DRV_TRIAL, DRV_TOUT) != HAL_OK)  Error_Handler();
	if(HAL_I2C_Master_Transmit(&hi2c1, EE_ADDR, buf, 3, DRV_TOUT)  != HAL_OK)  Error_Handler();
	if(HAL_I2C_IsDeviceReady(&hi2c1, EE_ADDR, DRV_TRIAL, DRV_TOUT) != HAL_OK)  Error_Handler();
	EE_DisableWR();
}
/**
  * @brief  save sys flags
  * @param
  * @retval
  */
static void save_flags(void)
{
	uint8_t buf[3];
	buf[0] = 0;
	buf[1] = 0;
	buf[2] = sysfl;
	EE_EnableWR();
	if(HAL_I2C_IsDeviceReady(&hi2c1, EE_ADDR, DRV_TRIAL, DRV_TOUT) != HAL_OK)  Error_Handler();
	if(HAL_I2C_Master_Transmit(&hi2c1, EE_ADDR, buf, 3, DRV_TOUT)  != HAL_OK)  Error_Handler();
	if(HAL_I2C_IsDeviceReady(&hi2c1, EE_ADDR, DRV_TRIAL, DRV_TOUT) != HAL_OK)  Error_Handler();
	EE_DisableWR();
}
/**
  * @brief
  * @param
  * @retval
  */
void HAL_UART_RxCpltCallback(UART_HandleTypeDef *huart)
{

	if(huart->Instance == USART1)
	{
		rstmr = HAL_GetTick();
		if(++rscnt > sizeof(rsbuf)) rscnt = 0;
		HAL_UART_Receive_IT(&huart1, &rsbuf[rscnt], 1);
	}
	else if(huart->Instance == USART2)
	{
		if(++rfcnt > sizeof(rfbuf)) rfcnt = 0;
		HAL_UART_Receive_IT(&huart2, &rfbuf[rfcnt], 1);
	}

}
/**
  * @brief
  * @param
  * @retval
  */
void HAL_UART_TxCpltCallback(UART_HandleTypeDef *huart)
{
}
/**
  * @brief
  * @param
  * @retval
  */
void HAL_UART_ErrorCallback(UART_HandleTypeDef *huart)
{
	if(huart->Instance == USART1)
	{
		enable_rs485_receiver();
	}
	else if(huart->Instance == USART2)
	{
		enable_rfid_receiver();
	}
}
/* USER CODE END 4 */

void Error_Handler(void)
{
	/* USER CODE BEGIN Error_Handler_Debug */

	/* User can add his own implementation to report the HAL error return state */
	__disable_irq();

	/* USER CODE BEGIN Init */
	HAL_CRC_MspDeInit(&hcrc);
	HAL_I2C_MspDeInit(&hi2c1);
	HAL_UART_MspDeInit(&huart1);
	HAL_UART_MspDeInit(&huart2);
	HAL_RTC_MspDeInit(&hrtc);
	HAL_DeInit();
	HAL_NVIC_SystemReset();
	/* USER CODE END Init */

	while(1)
	{
	}
	/* USER CODE END Error_Handler_Debug */
}
